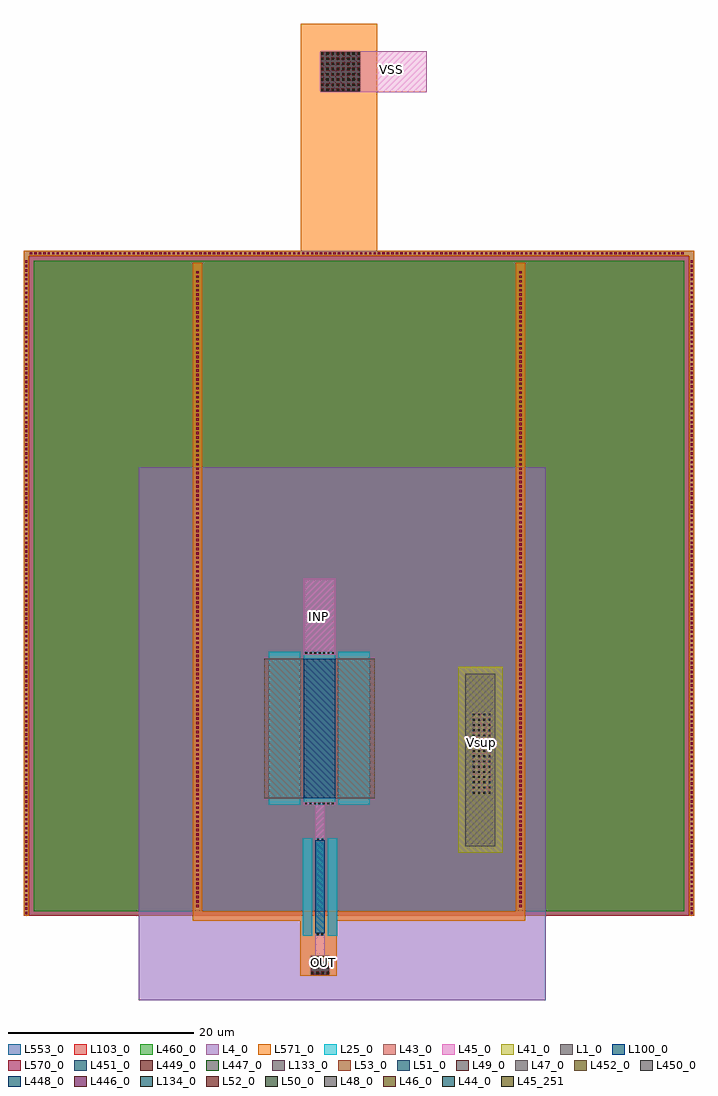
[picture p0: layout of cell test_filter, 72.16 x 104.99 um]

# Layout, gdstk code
import gdstk
lib = gdstk.Library(unit=1e-6, precision=1e-09)
def R(c, l, rs):  # rectangles x0, y0, x1, y1
    for r in rs: c.add(gdstk.rectangle(r[:2], r[2:], *l))
def A(c, l, x, y, w, h, nx, ny, dx, dy):  # array of equal rectangles
    R(c, l, [(x+i*dx, y+j*dy, x+i*dx+w, y+j*dy+h) for i in range(nx) for j in range(ny)])
L1_0 = (1, 0)
L4_0 = (4, 0)
L25_0 = (25, 0)
L41_0 = (41, 0)
L43_0 = (43, 0)
L44_0 = (44, 0)
L45_0 = (45, 0)
L45_251 = (45, 251)
L46_0 = (46, 0)
L47_0 = (47, 0)
L48_0 = (48, 0)
L49_0 = (49, 0)
L50_0 = (50, 0)
L51_0 = (51, 0)
L52_0 = (52, 0)
L53_0 = (53, 0)
L100_0 = (100, 0)
L103_0 = (103, 0)
L133_0 = (133, 0)
L134_0 = (134, 0)
L446_0 = (446, 0)
L447_0 = (447, 0)
L448_0 = (448, 0)
L449_0 = (449, 0)
L450_0 = (450, 0)
L451_0 = (451, 0)
L452_0 = (452, 0)
L460_0 = (460, 0)
L553_0 = (553, 0)
L570_0 = (570, 0)
L571_0 = (571, 0)

rppoly_sal__24 = lib.new_cell('rppoly_SAL$$24')
R(rppoly_sal__24, L4_0, [(2.55,-3.67,6.73,7.31)])
A(rppoly_sal__24, L25_0, 2.8, -3.42, 1, 10.48, 3, 1, 1.34, 0)
R(rppoly_sal__24, L45_0, [(4.14,-3.42,5.14,-3.12), (4.2,-3.36,4.4,-3.16), (4.14,6.76,5.14,7.06), (4.23,6.82,4.43,7.02)])
R(rppoly_sal__24, L100_0, [(4.14,-3.18,5.14,6.82)])

rppoly__25 = lib.new_cell('rppoly$$25')
R(rppoly__25, L4_0, [(-1.55,-9.37,10.83,8.01)])
A(rppoly__25, L25_0, -0.8, -8.92, 3.4, 16.48, 3, 1, 3.74, 0)
R(rppoly__25, L43_0, [(-1.3,-8.18,10.58,6.82)])
R(rppoly__25, L45_0, [(2.94,-8.92,6.34,-8.62), (3,-8.87,3.2,-8.67), (2.94,7.26,6.34,7.56), (3.03,7.31,3.23,7.51)])
R(rppoly__25, L100_0, [(2.94,-8.18,6.34,6.82)])

cmim_top__26 = lib.new_cell('cmim_top$$26')
R(cmim_top__26, L103_0, [(-3,-3,68,68)])
R(cmim_top__26, L460_0, [(-2.5,-2.5,67.5,67.5)])
R(cmim_top__26, L553_0, [(-3.58,-3,68.58,68.58)])
A(cmim_top__26, L570_0, -3.41, -2.8, 0.24, 0.24, 1, 147, 0, 0.48)
A(cmim_top__26, L570_0, 68.17, -2.8, 0.24, 0.24, 1, 147, 0, 0.48)
A(cmim_top__26, L570_0, 15, -2.04, 0.24, 0.24, 1, 143, 0, 0.48)
A(cmim_top__26, L570_0, 49.76, -2.04, 0.24, 0.24, 1, 143, 0, 0.48)
A(cmim_top__26, L570_0, -2.9, 68.17, 0.24, 0.24, 147, 1, 0.48, 0)
R(cmim_top__26, L571_0, [(14.62,-3.5,50.38,-2.5), (14.73,-3.34,14.97,-3.1), (-3.58,-3,-3,68.58), (68,-3,68.58,68.58), (14.62,-2.5,15.62,67.25), (49.38,-2.5,50.38,67.25), (-3.41,-2.3,-3.17,-2.06), (-3.58,68,68.58,68.58)])

m5_top_mf_top__1 = lib.new_cell('M5_top_MF_top$$1')
R(m5_top_mf_top__1, L553_0, [(-0.99,-1,0.99,1)])
A(m5_top_mf_top__1, L570_0, -0.96, -0.96, 0.24, 0.24, 4, 4, 0.56, 0.56)
R(m5_top_mf_top__1, L571_0, [(-1.01,-1.03,1.01,1.03)])

m4_top_m5_top__2 = lib.new_cell('M4_top_M5_top$$2')
R(m4_top_m5_top__2, L451_0, [(-0.99,-1,0.99,1)])
A(m4_top_m5_top__2, L452_0, -0.96, -0.96, 0.24, 0.24, 4, 4, 0.56, 0.56)
R(m4_top_m5_top__2, L553_0, [(-0.99,-1,0.99,1)])

m3_top_m4_top__3 = lib.new_cell('M3_top_M4_top$$3')
R(m3_top_m4_top__3, L449_0, [(-0.99,-1,0.99,1)])
A(m3_top_m4_top__3, L450_0, -0.96, -0.96, 0.24, 0.24, 4, 4, 0.56, 0.56)
R(m3_top_m4_top__3, L451_0, [(-0.99,-1,0.99,1)])

m2_top_m3_top__4 = lib.new_cell('M2_top_M3_top$$4')
R(m2_top_m3_top__4, L447_0, [(-0.99,-1,0.99,1)])
A(m2_top_m3_top__4, L448_0, -0.96, -0.96, 0.24, 0.24, 4, 4, 0.56, 0.56)
R(m2_top_m3_top__4, L449_0, [(-0.99,-1,0.99,1)])

m1_top_m2_top__5 = lib.new_cell('M1_top_M2_top$$5')
R(m1_top_m2_top__5, L133_0, [(-0.99,-1,0.99,1)])
A(m1_top_m2_top__5, L446_0, -0.96, -0.96, 0.24, 0.24, 4, 4, 0.56, 0.56)
R(m1_top_m2_top__5, L447_0, [(-0.99,-1,0.99,1)])

m5_m1_top__6 = lib.new_cell('M5_M1_top$$6')
R(m5_m1_top__6, L53_0, [(-0.99,-1,0.99,1)])
R(m5_m1_top__6, L133_0, [(-0.99,-1,0.99,1)])
A(m5_m1_top__6, L134_0, -0.96, -0.96, 0.24, 0.24, 4, 4, 0.56, 0.56)

m4_m5__7 = lib.new_cell('M4_M5$$7')
R(m4_m5__7, L51_0, [(-0.99,-1,0.99,1)])
A(m4_m5__7, L52_0, -0.96, -0.96, 0.24, 0.24, 4, 4, 0.56, 0.56)
R(m4_m5__7, L53_0, [(-0.99,-1,0.99,1)])

m3_m4__8 = lib.new_cell('M3_M4$$8')
R(m3_m4__8, L49_0, [(-0.99,-1,0.99,1)])
A(m3_m4__8, L50_0, -0.96, -0.96, 0.24, 0.24, 4, 4, 0.56, 0.56)
R(m3_m4__8, L51_0, [(-0.99,-1,0.99,1)])

m2_m3__9 = lib.new_cell('M2_M3$$9')
R(m2_m3__9, L47_0, [(-0.99,-1,0.99,1)])
A(m2_m3__9, L48_0, -0.96, -0.96, 0.24, 0.24, 4, 4, 0.56, 0.56)
R(m2_m3__9, L49_0, [(-0.99,-1,0.99,1)])

m1_m2__10 = lib.new_cell('M1_M2$$10')
R(m1_m2__10, L45_0, [(-0.99,-1,0.99,1)])
A(m1_m2__10, L46_0, -0.96, -0.96, 0.24, 0.24, 4, 4, 0.56, 0.56)
R(m1_m2__10, L47_0, [(-0.99,-1,0.99,1)])

m5_top_mf_top__11 = lib.new_cell('M5_top_MF_top$$11')
R(m5_top_mf_top__11, L553_0, [(-2.11,-2.12,2.11,2.12)])
A(m5_top_mf_top__11, L570_0, -2.08, -2.08, 0.24, 0.24, 8, 8, 0.56, 0.56)
R(m5_top_mf_top__11, L571_0, [(-2.13,-2.15,2.13,2.15)])

m4_top_m5_top__12 = lib.new_cell('M4_top_M5_top$$12')
R(m4_top_m5_top__12, L451_0, [(-2.11,-2.12,2.11,2.12)])
A(m4_top_m5_top__12, L452_0, -2.08, -2.08, 0.24, 0.24, 8, 8, 0.56, 0.56)
R(m4_top_m5_top__12, L553_0, [(-2.11,-2.12,2.11,2.12)])

m3_top_m4_top__13 = lib.new_cell('M3_top_M4_top$$13')
R(m3_top_m4_top__13, L449_0, [(-2.11,-2.12,2.11,2.12)])
A(m3_top_m4_top__13, L450_0, -2.08, -2.08, 0.24, 0.24, 8, 8, 0.56, 0.56)
R(m3_top_m4_top__13, L451_0, [(-2.11,-2.12,2.11,2.12)])

m2_top_m3_top__14 = lib.new_cell('M2_top_M3_top$$14')
R(m2_top_m3_top__14, L447_0, [(-2.11,-2.12,2.11,2.12)])
A(m2_top_m3_top__14, L448_0, -2.08, -2.08, 0.24, 0.24, 8, 8, 0.56, 0.56)
R(m2_top_m3_top__14, L449_0, [(-2.11,-2.12,2.11,2.12)])

m1_top_m2_top__15 = lib.new_cell('M1_top_M2_top$$15')
R(m1_top_m2_top__15, L133_0, [(-2.11,-2.12,2.11,2.12)])
A(m1_top_m2_top__15, L446_0, -2.08, -2.08, 0.24, 0.24, 8, 8, 0.56, 0.56)
R(m1_top_m2_top__15, L447_0, [(-2.11,-2.12,2.11,2.12)])

m5_m1_top__16 = lib.new_cell('M5_M1_top$$16')
R(m5_m1_top__16, L53_0, [(-2.11,-2.12,2.11,2.12)])
R(m5_m1_top__16, L133_0, [(-2.11,-2.12,2.11,2.12)])
A(m5_m1_top__16, L134_0, -2.08, -2.08, 0.24, 0.24, 8, 8, 0.56, 0.56)

m4_m5__17 = lib.new_cell('M4_M5$$17')
R(m4_m5__17, L51_0, [(-2.11,-2.12,2.11,2.12)])
A(m4_m5__17, L52_0, -2.08, -2.08, 0.24, 0.24, 8, 8, 0.56, 0.56)
R(m4_m5__17, L53_0, [(-2.11,-2.12,2.11,2.12)])

m3_m4__18 = lib.new_cell('M3_M4$$18')
R(m3_m4__18, L49_0, [(-2.11,-2.12,2.11,2.12)])
A(m3_m4__18, L50_0, -2.08, -2.08, 0.24, 0.24, 8, 8, 0.56, 0.56)
R(m3_m4__18, L51_0, [(-2.11,-2.12,2.11,2.12)])

m2_m3__19 = lib.new_cell('M2_M3$$19')
R(m2_m3__19, L47_0, [(-2.11,-2.12,2.11,2.12)])
A(m2_m3__19, L48_0, -2.08, -2.08, 0.24, 0.24, 8, 8, 0.56, 0.56)
R(m2_m3__19, L49_0, [(-2.11,-2.12,2.11,2.12)])

m1_m2__20 = lib.new_cell('M1_M2$$20')
R(m1_m2__20, L45_0, [(-2.11,-2.12,2.11,2.12)])
A(m1_m2__20, L46_0, -2.08, -2.08, 0.24, 0.24, 8, 8, 0.56, 0.56)
R(m1_m2__20, L47_0, [(-2.11,-2.12,2.11,2.12)])

diff_m1__21 = lib.new_cell('DIFF_M1$$21')
R(diff_m1__21, L1_0, [(-0.97,-4.33,0.97,4.33)])
A(diff_m1__21, L44_0, -0.93, -4.29, 0.18, 0.18, 4, 16, 0.56, 0.56)
R(diff_m1__21, L45_0, [(-0.96,-4.33,0.96,4.33)])

p2_m1__22 = lib.new_cell('P2_M1$$22')
R(p2_m1__22, L25_0, [(-1.59,-0.15,1.59,0.15)])
A(p2_m1__22, L44_0, -1.53, -0.09, 0.18, 0.18, 7, 1, 0.48, 0)
R(p2_m1__22, L45_0, [(-1.56,-0.13,1.56,0.13)])

p2_m1__23 = lib.new_cell('P2_M1$$23')
R(p2_m1__23, L25_0, [(-0.39,-0.15,0.39,0.15)])
R(p2_m1__23, L44_0, [(-0.33,-0.09,-0.15,0.09), (0.15,-0.09,0.33,0.09)])
R(p2_m1__23, L45_0, [(-0.36,-0.13,0.36,0.13)])

test_filter = lib.new_cell('test_filter')
R(test_filter, L1_0, [(38.64,53.48,41.91,72.04)])
R(test_filter, L4_0, [(3.55,36.96,47.3,94.25)])
R(test_filter, L41_0, [(37.89,52.82,42.7,72.82)])
R(test_filter, L45_0, [(22.54,40.11,23.54,44.18), (22.54,54.06,23.54,58.19), (21.26,74.14,24.66,82.25), (23.04,134.61,34.53,139)])
R(test_filter, L45_251, [(23.34,40.92,23.58,41.16), (40.24,64.55,40.48,64.79), (22.77,78.07,23.01,78.31), (30.62,136.9,30.86,137.14)])
R(test_filter, L571_0, [(20.9,39.56,24.82,46.45), (20.94,117.09,29.22,141.95)])
test_filter.add(gdstk.Reference(rppoly_sal__24, (18.4,47.3)))
test_filter.add(gdstk.Reference(rppoly__25, (18.32,66.86)))
test_filter.add(gdstk.Reference(cmim_top__26, (-5.27,49)))
test_filter.add(gdstk.Reference(m5_top_mf_top__1, (23.05,40.7)))
test_filter.add(gdstk.Reference(m4_top_m5_top__2, (23.05,40.7)))
test_filter.add(gdstk.Reference(m3_top_m4_top__3, (23.05,40.7)))
test_filter.add(gdstk.Reference(m2_top_m3_top__4, (23.05,40.7)))
test_filter.add(gdstk.Reference(m1_top_m2_top__5, (23.05,40.7)))
test_filter.add(gdstk.Reference(m5_m1_top__6, (23.05,40.7)))
test_filter.add(gdstk.Reference(m4_m5__7, (23.05,40.7)))
test_filter.add(gdstk.Reference(m3_m4__8, (23.05,40.7)))
test_filter.add(gdstk.Reference(m2_m3__9, (23.05,40.7)))
test_filter.add(gdstk.Reference(m1_m2__10, (23.05,40.7)))
test_filter.add(gdstk.Reference(m5_top_mf_top__11, (25.25,136.82)))
test_filter.add(gdstk.Reference(m4_top_m5_top__12, (25.25,136.82)))
test_filter.add(gdstk.Reference(m3_top_m4_top__13, (25.25,136.82)))
test_filter.add(gdstk.Reference(m2_top_m3_top__14, (25.25,136.82)))
test_filter.add(gdstk.Reference(m1_top_m2_top__15, (25.25,136.82)))
test_filter.add(gdstk.Reference(m5_m1_top__16, (25.25,136.82)))
test_filter.add(gdstk.Reference(m4_m5__17, (25.25,136.82)))
test_filter.add(gdstk.Reference(m3_m4__18, (25.25,136.82)))
test_filter.add(gdstk.Reference(m2_m3__19, (25.25,136.82)))
test_filter.add(gdstk.Reference(m1_m2__20, (25.25,136.82)))
test_filter.add(gdstk.Reference(diff_m1__21, (40.42,63.46)))
test_filter.add(gdstk.Reference(p2_m1__22, (23,74.27)))
test_filter.add(gdstk.Reference(p2_m1__22, (22.96,58.09)))
test_filter.add(gdstk.Reference(p2_m1__23, (23.04,44.03)))
test_filter.add(gdstk.Reference(p2_m1__23, (23.05,54.21)))
test_filter.add(gdstk.Label('Vsup', (40.36,64.67), layer=45, texttype=251))
test_filter.add(gdstk.Label('OUT', (23.46,41.04), layer=45, texttype=251))
test_filter.add(gdstk.Label('VSS', (30.74,137.02), layer=45, texttype=251))
test_filter.add(gdstk.Label('INP', (22.89,78.19), layer=45, texttype=251))

lib.write_gds('test_filter.gds')
